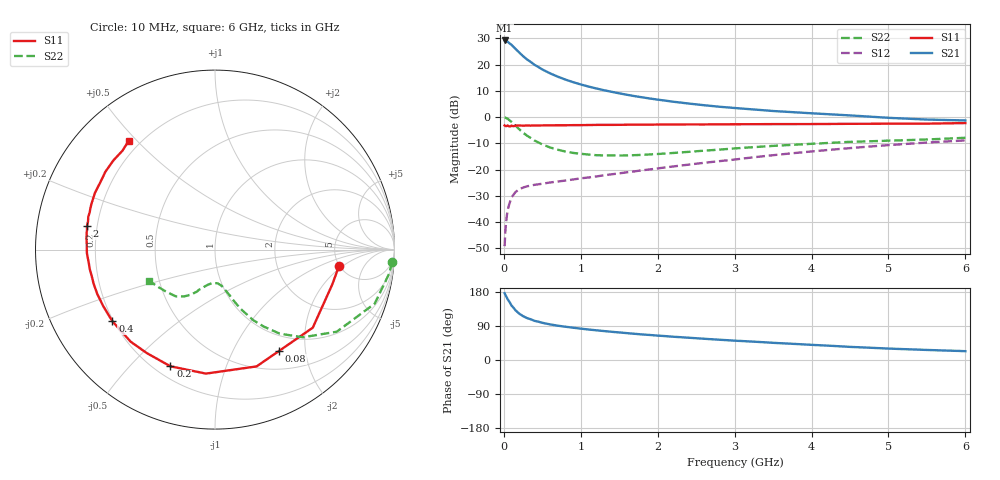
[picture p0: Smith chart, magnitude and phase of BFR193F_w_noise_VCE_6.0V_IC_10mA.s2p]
! Infineon Technologies  Discrete & RF Semiconductors
! BFR193F
! VCE =  6.0 V,  IC =  10 mA
! Common Emitter S-Parameters:  Jan 2017
# GHz  S  MA  R  50
!  f  S11  S21  S12  S22
! GHz  MAG  ANG  MAG  ANG  MAG  ANG  MAG  ANG
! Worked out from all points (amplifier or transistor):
!   77 points, 10 MHz to 6 GHz, reference 50 ohm
!   highest |S21| = 29.2 dB at 10 MHz (marker M1)
!   |S21| within 3 dB of that: start of sweep to 145.4 MHz
!   unconditionally stable (mu >= 1): 1.568 GHz to 2.887 GHz
!   at 130 MHz: K = 0.17, MSG = 28.0 dB, |S12| = -29.3 dB
!   at 2.2 GHz: K = 1.04, MAG = 11.1 dB, |S12| = -18.8 dB
!   at 6 GHz: K = 0.80, MSG = 3.8 dB, |S12| = -8.8 dB
!   lowest NFmin = 0.87 dB at 450 MHz
!   S11 on the Smith chart (normalised r, x): 10 MHz: 4.92, -1.78; 80 MHz: 0.76, -1.54; 200 MHz: 0.26, -0.66; 400 MHz: 0.20, -0.30; 2 GHz: 0.16, +0.09; 6 GHz: 0.16, +0.47
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0.01  0.6966 -7.7  28.96 176.2  0.0035 87.7  0.9878 -4.0
0.02  0.6817 -16.5  28.49 171.8  0.0069 84.4  0.9804 -7.7
0.05  0.6972 -38.6  27.43 160.2  0.017 75.2  0.9394 -18.7
0.08  0.6679 -57.7  25.09 150.8  0.0244 64.3  0.8591 -27.4
0.1  0.6908 -70.4  23.96 143.6  0.0296 60.2  0.8182 -34.0
0.15  0.6927 -94.2  20.2 131.4  0.0373 51.6  0.692 -44.9
0.2  0.696 -110.9  17.09 122.3  0.0427 46.0  0.5912 -52.4
0.25  0.6905 -123.4  14.55 115.7  0.0457 42.6  0.5071 -57.7
0.3  0.6957 -132.5  12.66 110.7  0.0483 40.5  0.4464 -61.6
0.4  0.6974 -145.1  9.925 103.2  0.0516 38.3  0.3584 -66.7
0.5  0.6979 -153.3  8.117 98.2  0.0541 39.6  0.3031 -69.9
0.6  0.701 -159.4  6.856 94.0  0.0571 41.1  0.2658 -72.4
0.7  0.7025 -164.3  5.927 90.6  0.0596 42.4  0.2406 -74.8
0.9  0.7063 -171.2  4.658 85.2  0.0652 46.3  0.2091 -78.9
1.1  0.71 -176.1  3.838 80.5  0.0711 50.2  0.1946 -83.1
1.5  0.716 176.6  2.85 72.7  0.0852 56.8  0.1866 -91.7
2  0.7252 169.7  2.163 64.4  0.106 62.7  0.1992 -101.3
2.1  0.7248 168.6  2.068 63.0  0.1106 63.5  0.2037 -102.7
3.1  0.7348 158.6  1.46 50.0  0.1628 69.5  0.2603 -114.3
4.1  0.7419 148.7  1.166 39.0  0.2296 69.7  0.3167 -124.6
5.1  0.7529 137.7  0.959 29.4  0.3008 65.7  0.3611 -140.1
6  0.7737 128.3  0.868 23.3  0.3613 60.4  0.4062 -154.5
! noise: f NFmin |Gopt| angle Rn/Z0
0.45  0.87  0.25  139  0.07
0.9  1  0.38  152  0.07
1.9  1.7  0.59  -176  0.06
2.4  2.05  0.63  -165  0.08
